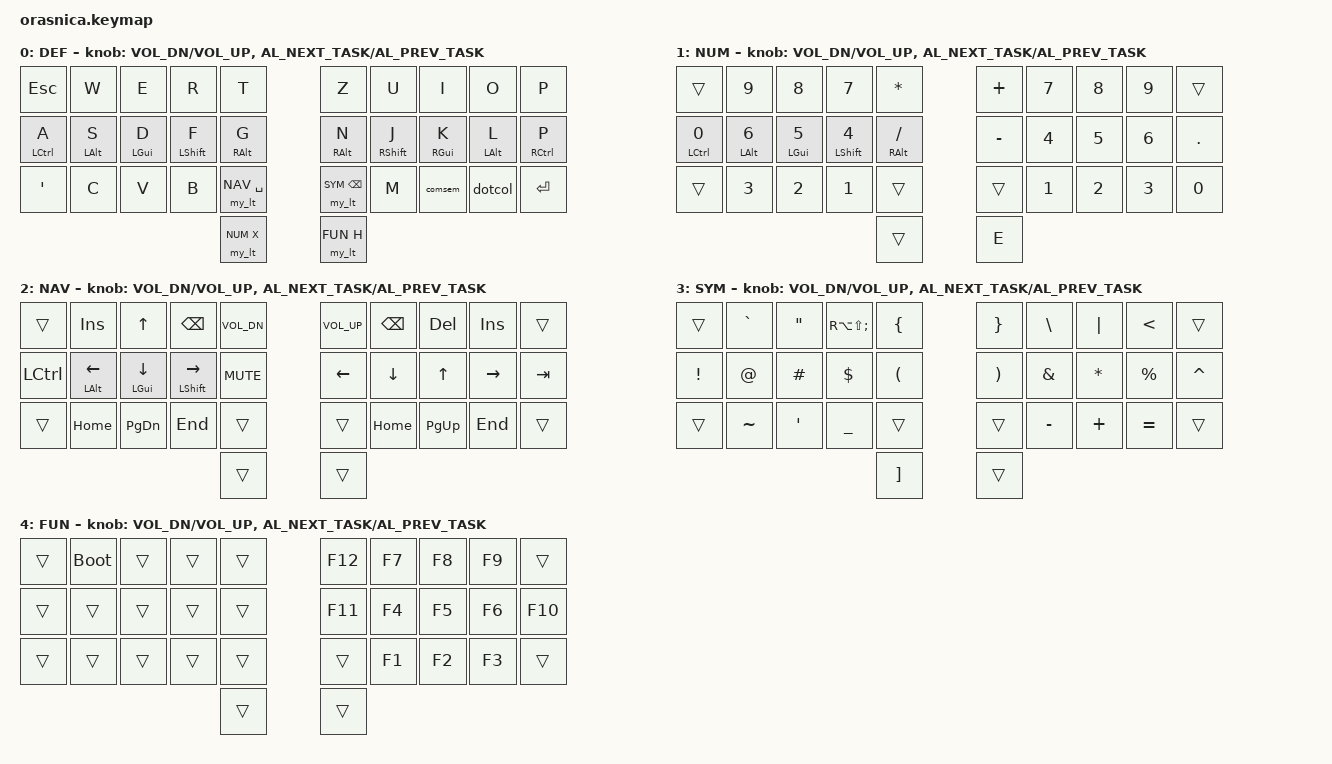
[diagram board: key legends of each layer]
#include <behaviors.dtsi>
#include <dt-bindings/zmk/keys.h>
#include <dt-bindings/zmk/bt.h>
#include <dt-bindings/zmk/ext_power.h>
#define ZMK_POINTING_DEFAULT_MOVE_VAL 1500  // default: 600
#define ZMK_POINTING_DEFAULT_SCRL_VAL 30    // default: 20

#include <dt-bindings/zmk/pointing.h>

#define DEF 0
#define NUM 1
#define NAV 2
#define SYM 3
#define FUN 4

&caps_word {
    continue-list = <UNDERSCORE MINUS BSPC LSHFT RSHFT>;
};

/ {
    macros {
        macro_sch: macro_sch {
            label = "Macro_SCH";
            compatible = "zmk,behavior-macro";
            #binding-cells = <0>;
            bindings = <&macro_tap &kp S &kp C &kp H>;
        };
    };
};

#define COMBO(NAME, BINDINGS, KEYPOS) \
combo_##NAME { \
    timeout-ms = <20>; \
    bindings = <BINDINGS>; \
    key-positions = <KEYPOS>; \
};

/ {
    combos {
        compatible = "zmk,combos";
/* usually on base layer */
        COMBO(q, &kp Q, 2 3)
        COMBO(z, &kp Z, 21 22)
        COMBO(v, &kp V, 1 2)
        COMBO(sch, &macro_sch, 1 3)
        COMBO(slash, &kp SLASH, 27 28)
        COMBO(dash, &kp MINUS, 26 27)
        COMBO(enter, &kp ENTER, 26 27 28)
        COMBO(esc, &kp ESC, 22 23)
/* parentheticals */
        COMBO(lbrc, &kp LBRC, 1 11)
        COMBO(lbkt, &kp LBKT, 2 12)
        COMBO(lpar, &kp LPAR, 3 13)
        COMBO(lt, &kp LT, 4 14)
        COMBO(gt, &kp GT, 5 15)
        COMBO(rpar, &kp RPAR, 6 16)
        COMBO(rbkt, &kp RBKT, 7 17)
        COMBO(rbrc, &kp RBRC, 8 18)
/* caps */
        COMBO(caps, &caps_word, 13 16)
        COMBO(capslock, &kp CAPSLOCK, 1 8)
/* deletion */
        COMBO(bspc, &kp BSPC, 6 7)
        COMBO(del, &kp DEL, 7 8)
        COMBO(delword, &kp LC(BSPC), 6 8)
    };
};

/ {

    behaviors {
        hl: homerow_mods_left {
            compatible = "zmk,behavior-hold-tap";
            label = "homerow mods left";
            #binding-cells = <2>;
            // flavor = "tap-preferred";
            flavor = "balanced";
            tapping-term-ms = <300>;
            quick-tap-ms = <100>;
            // global-quick-tap;
            bindings = <&kp>, <&kp>;
            // opposite side hand keys
            hold-trigger-key-positions = <5 6 7 8 9 15 16 17 18 19 25 26 27 28 29 30 31>;
        };
        hr: homerow_mods_right {
            compatible = "zmk,behavior-hold-tap";
            label = "homerow mods right";
            #binding-cells = <2>;
            // flavor = "tap-preferred";
            flavor = "balanced";
            tapping-term-ms = <300>;
            quick-tap-ms = <100>;
            // global-quick-tap;
            bindings = <&kp>, <&kp>;
            // opposite side hand keys
            hold-trigger-key-positions = <0 1 2 3 4 10 11 12 13 14 20 21 22 23 24 30 31>;
        };

        my_lt: my_layer_taps {
            compatible = "zmk,behavior-hold-tap";
            label = "my layer taps";
            #binding-cells = <2>;
            // flavor = "tap-preferred";
            flavor = "balanced";
            tapping-term-ms = <150>;
            quick-tap-ms = <100>;
            // global-quick-tap;
            bindings = <&mo &kp>, <&kp>;
            // non-thumb keys
            // hold-trigger-key-positions = <0 1 2 3 4 5 6 7 8 9 10 11 12 13 14 15 16 17 18 19 20 21 22 23 24 25>;
        };
//   ____________________________  ____________________________
//  / 0  |  1  |  2  |  3  |  4  \/   5 |   6 |   7 |   8 | 9  \
// | 10  | 11  | 12  | 13  | 14  /\  15 |  16 |  17 |  18 | 19  |
// | 10  | 21  | 22  | 23  | 14 /  \ 15 |  26 |  27 |  28 | 29  |
//            \  30  /    					  \  30  /
//                       ------      ------
        dotcol: dot_colon {
            compatible = "zmk,behavior-mod-morph";
            label = "DOT_COL";
            #binding-cells = <0>;
            bindings = <&kp DOT>, <&kp COLON>;
            mods = <(MOD_LSFT|MOD_RSFT)>;
        };
        comsem: comma_semicolon {
            compatible = "zmk,behavior-mod-morph";
            label = "COM_SEM";
            #binding-cells = <0>;
            bindings = <&kp COMMA>, <&kp SEMI>;
            mods = <(MOD_LSFT|MOD_RSFT)>;
        };
    };
};

&encoder { status = "okay"; };
&encoder2 { status = "okay"; };

/ {
	keymap {
		compatible = "zmk,keymap";
		qerteight {
            label = "DEF";
            bindings = <
                &kp ESC        &kp W          &kp E          &kp R          &kp T               &kp Z                   &kp U          &kp I          &kp O          &kp P
                &hl LCTRL A    &hl LALT S     &hl LGUI D     &hl LSHFT F    &hl RALT G          &hr RALT N              &hr RSHFT J    &hr RGUI K     &hr LALT L     &hr RCTRL P
                &kp SQT        &kp C          &kp V          &kp B          &my_lt NAV SPACE    &my_lt SYM BACKSPACE    &kp M          &comsem        &dotcol        &kp ENTER
                                              &my_lt NUM X                                                              &my_lt FUN H
            >;
			sensor-bindings = <&inc_dec_kp C_VOL_DN C_VOL_UP &inc_dec_kp C_AL_NEXT_TASK C_AL_PREV_TASK>;
		};
        numbers {
            label = "NUM";

            bindings = <
                &trans         &kp N9         &kp N8         &kp N7         &kp ASTERISK   &kp PLUS       &kp N7         &kp N8         &kp N9		   &trans
                &hl LCTRL N0   &hl LALT N6    &hl LGUI N5    &hl LSHFT N4   &hl RALT SLASH &kp MINUS      &kp N4         &kp N5         &kp N6         &kp DOT
                &trans         &kp N3         &kp N2         &kp N1         &trans         &trans         &kp N1         &kp N2         &kp N3         &kp N0
                                                                            &trans         &kp E
            >;
			sensor-bindings = <&inc_dec_kp C_VOL_DN C_VOL_UP &inc_dec_kp C_AL_NEXT_TASK C_AL_PREV_TASK>;
        };
        navigation {
            label = "NAV";

            bindings = <
                &trans         &kp INSERT     &kp UP         &kp BSPC        &kp C_VOL_DN   &kp C_VOL_UP   &kp BSPC       &kp DEL        &kp INSERT	    &trans
                &kp LCTRL      &hl LALT LEFT  &hl LGUI DOWN  &hl LSHFT RIGHT &kp C_MUTE     &kp LEFT       &kp DOWN       &kp UP         &kp RIGHT      &kp TAB
                &trans         &kp HOME       &kp PG_DN      &kp END         &trans         &trans         &kp HOME       &kp PG_UP      &kp END        &trans
                                                                             &trans         &trans
            >;
	                sensor-bindings = <&inc_dec_kp C_VOL_DN C_VOL_UP &inc_dec_kp C_AL_NEXT_TASK C_AL_PREV_TASK>;
        };
        symbols {
            label = "SYM";

            bindings = <
                &trans         &kp GRAVE      &kp DQT        &kp RA(LS(SEMI)) &kp LBRC       &kp RBRC       &kp BACKSLASH  &kp PIPE       &kp LT		 &trans
                &kp EXCL       &kp AT         &kp HASH       &kp DOLLAR       &kp LPAR       &kp RPAR       &kp AMPERSAND  &kp ASTERISK   &kp PERCENT    &kp CARET
                &trans         &kp TILDE      &kp SQT        &kp UNDERSCORE   &trans         &trans         &kp MINUS      &kp PLUS       &kp EQUAL      &trans
                                                                              &kp RBKT       &trans
            >;
			sensor-bindings = <&inc_dec_kp C_VOL_DN C_VOL_UP &inc_dec_kp C_AL_NEXT_TASK C_AL_PREV_TASK>;
        };
        function {
            label = "FUN";

            bindings = <
                &trans         &bootloader    &trans         &trans         &trans         &kp F12        &kp F7         &kp F8         &kp F9		   &trans
                &trans         &trans         &trans         &trans         &trans         &kp F11        &kp F4         &kp F5         &kp F6         &kp F10
                &trans         &trans         &trans         &trans         &trans         &trans         &kp F1         &kp F2         &kp F3         &trans
                                                                            &trans         &trans
            >;
sensor-bindings = <&inc_dec_kp C_VOL_DN C_VOL_UP &inc_dec_kp C_AL_NEXT_TASK C_AL_PREV_TASK>;
	
        };
	};
};
